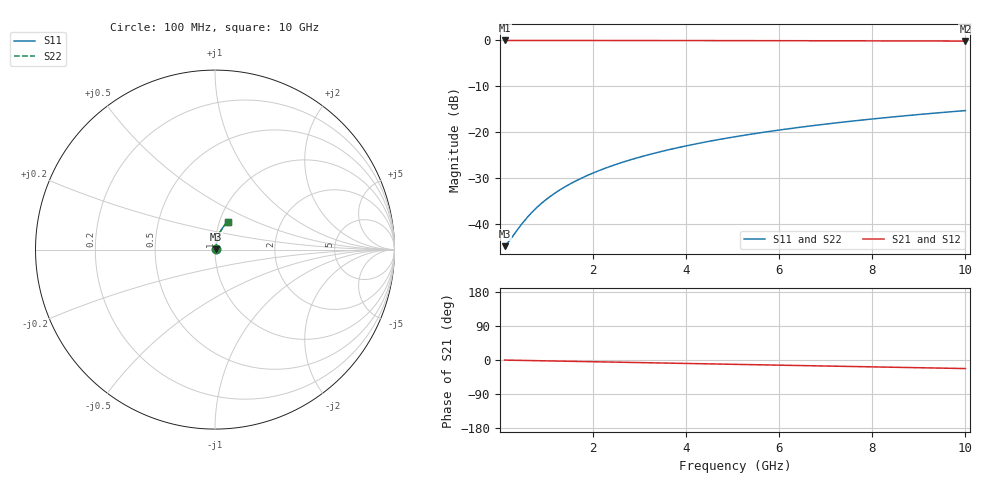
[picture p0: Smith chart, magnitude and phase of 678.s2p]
# Hz S RI R 50.00
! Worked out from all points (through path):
!   100 points, 100 MHz to 10 GHz, reference 50 ohm
!   highest |S21| = -0.05 dB at 100 MHz (marker M1); lowest = -0.2 dB at 10 GHz (marker M2)
!   group delay of S21, straight-line fit = 6.28 ps
!   lowest |S11| = -44.8 dB at 100 MHz (marker M3), VSWR 1.01, Z = 50.6 + j0.178 ohm
!   |S11| at or under -10 dB: start of sweep to end of sweep
!   |S22| runs from -44.8 to -15.3 dB; largest |S21 - S12| = 0
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1e8  0.00549 0.00176  0.9945 -0.00395  0.9945 -0.00395  0.00549 0.00176
2e8  0.00554 0.00351  0.9944 -0.0079  0.9944 -0.0079  0.00554 0.00351
4e8  0.00567 0.00703  0.9943 -0.0158  0.9943 -0.0158  0.00567 0.00703
5e8  0.00575 0.00878  0.9942 -0.0198  0.9942 -0.0198  0.00575 0.00878
6e8  0.00584 0.0105  0.9941 -0.0237  0.9941 -0.0237  0.00584 0.0105
7e8  0.00595 0.0123  0.9939 -0.0277  0.9939 -0.0277  0.00595 0.0123
9e8  0.0062 0.0158  0.9936 -0.0355  0.9936 -0.0355  0.0062 0.0158
1.1e9  0.0065 0.0193  0.9932 -0.0434  0.9932 -0.0434  0.0065 0.0193
1.3e9  0.00685 0.0228  0.9927 -0.0513  0.9927 -0.0513  0.00685 0.0228
1.5e9  0.00726 0.0263  0.9922 -0.0592  0.9922 -0.0592  0.00726 0.0263
1.8e9  0.00797 0.0315  0.9912 -0.071  0.9912 -0.071  0.00797 0.0315
2.1e9  0.00881 0.0367  0.9901 -0.0828  0.9901 -0.0828  0.00881 0.0367
2.5e9  0.0101 0.0436  0.9883 -0.0985  0.9883 -0.0985  0.0101 0.0436
2.9e9  0.0116 0.0504  0.9863 -0.1141  0.9863 -0.1141  0.0116 0.0504
3.4e9  0.0138 0.0589  0.9833 -0.1335  0.9833 -0.1335  0.0138 0.0589
4.2e9  0.018 0.0722  0.9776 -0.1645  0.9776 -0.1645  0.018 0.0722
5.1e9  0.0237 0.0868  0.9698 -0.1989  0.9698 -0.1989  0.0237 0.0868
5.9e9  0.0297 0.0994  0.9618 -0.229  0.9618 -0.229  0.0297 0.0994
6.7e9  0.0364 0.1116  0.9526 -0.2588  0.9526 -0.2588  0.0364 0.1116
7.5e9  0.0438 0.1233  0.9424 -0.2881  0.9424 -0.2881  0.0438 0.1233
8.4e9  0.053 0.1358  0.9296 -0.3204  0.9296 -0.3204  0.053 0.1358
1e10  0.0713 0.1563  0.904 -0.376  0.904 -0.376  0.0713 0.1563
